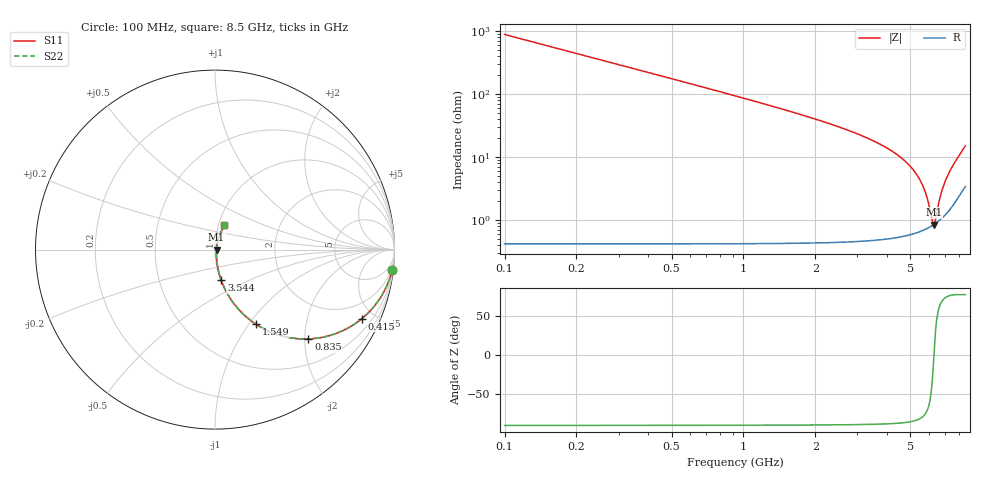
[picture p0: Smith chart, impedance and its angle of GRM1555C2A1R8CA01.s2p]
!Murata Part Number: GRM1555C2A1R8CA01
!These Parameters are Measured in Series Mode Connection
!Data Generated on Mar 30, 2021
!  o--ll--o
!Port1  Port2
!  o------o
!Operation Temp=25[degC], DC Bias Voltage=0[V]
!Freq. Start=100[MHz] Stop=9[GHz] 401[Steps]
# Hz S RI R 50
!Freq.(Hz) S11(Real) S11(Imag) S21(Real) S21(Imag) S12(Real) S12(Imag) S22(Real) S22(Imag)
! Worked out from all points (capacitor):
!   401 points, 100 MHz to 8.5 GHz, reference 50 ohm
!   read as one part in series: C = 1.8 pF near 142 MHz
!   lowest |Z| = 854 mohm at 6.274 GHz (marker M1)
!   series resonance near 6.275 GHz, so ESL is about 360 pH
!   S11 on the Smith chart (normalised r, x): 100 MHz: 1, -18; 415 MHz: 1.01, -4.24; 835 MHz: 1.01, -2.08; 1.549 GHz: 1.01, -1.08; 3.544 GHz: 1.01, -0.35; 8.5 GHz: 1.07, +0.30
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1e8  0.9873 -0.1117  0.0127 0.1117  0.0127 0.1117  0.9873 -0.1117
2.47e8  0.9272 -0.2593  0.0728 0.2593  0.0728 0.2593  0.9272 -0.2593
4.15e8  0.8178 -0.385  0.1822 0.385  0.1822 0.385  0.8178 -0.385
6.04e8  0.6778 -0.4659  0.3222 0.4659  0.3222 0.4659  0.6778 -0.4659
8.35e8  0.5207 -0.4976  0.4793 0.4976  0.4793 0.4976  0.5207 -0.4976
1.15e9  0.3583 -0.4767  0.6417 0.4767  0.6417 0.4767  0.3583 -0.4767
1.507e9  0.2383 -0.4222  0.7617 0.4222  0.7617 0.4222  0.2383 -0.4222
1.549e9  0.2276 -0.4153  0.7724 0.4153  0.7724 0.4153  0.2276 -0.4153
2.137e9  0.1239 -0.3236  0.8761 0.3236  0.8761 0.3236  0.1239 -0.3236
2.914e9  0.0603 -0.2289  0.9397 0.2289  0.9397 0.2289  0.0603 -0.2289
3.544e9  0.0348 -0.1703  0.9652 0.1703  0.9652 0.1703  0.0348 -0.1703
4.3e9  0.0184 -0.1138  0.9816 0.1138  0.9816 0.1138  0.0184 -0.1138
5.14e9  0.00988 -0.0618  0.9901 0.0618  0.9901 0.0618  0.00988 -0.0618
5.707e9  0.00788 -0.0302  0.9921 0.0302  0.9921 0.0302  0.00788 -0.0302
5.938e9  0.00781 -0.0179  0.9922 0.0179  0.9922 0.0179  0.00781 -0.0179
6.19e9  0.00822 -0.0045  0.9918 0.0045  0.9918 0.0045  0.00822 -0.0045
6.274e9  0.00847 -6.16e-05  0.9915 6.16e-05  0.9915 6.16e-05  0.00847 -6.16e-05
6.358e9  0.00878 0.00437  0.9912 -0.00437  0.9912 -0.00437  0.00878 0.00437
6.715e9  0.0109 0.0233  0.9891 -0.0233  0.9891 -0.0233  0.0109 0.0233
7.114e9  0.0149 0.0449  0.9851 -0.0449  0.9851 -0.0449  0.0149 0.0449
7.66e9  0.0243 0.0763  0.9757 -0.0763  0.9757 -0.0763  0.0243 0.0763
8.5e9  0.0523 0.1355  0.9477 -0.1355  0.9477 -0.1355  0.0523 0.1355
